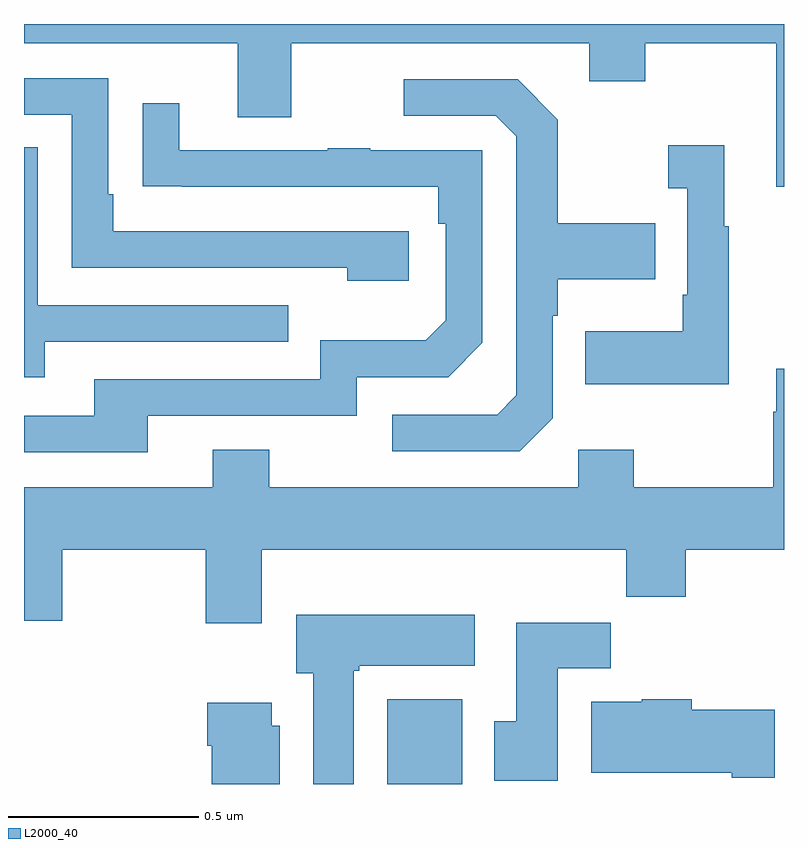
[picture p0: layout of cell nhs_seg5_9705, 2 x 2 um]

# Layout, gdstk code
import gdstk
lib = gdstk.Library(unit=1e-6, precision=1e-09)
def R(c, l, rs):  # rectangles x0, y0, x1, y1
    for r in rs: c.add(gdstk.rectangle(r[:2], r[2:], *l))
def P(c, l, *ps):  # polygons
    for p in ps: c.add(gdstk.Polygon(p, *l))
L2000_40 = (2000, 40)

nhs_seg5_9705 = lib.new_cell('nhs_seg5_9705')
R(nhs_seg5_9705, L2000_40, [(237.956,866.799,238.153,867.022)])
P(nhs_seg5_9705, L2000_40, [(239,868.799),(237,868.799),(237,868.748),(237.563,868.748),(237.563,868.554),(237.703,868.554),(237.703,868.748),(238.487,868.748),(238.487,868.649),(238.635,868.649),(238.635,868.748),(238.979,868.748),(238.979,868.371),(239,868.371)],
  [(238.012,868.254),(237.235,868.254),(237.235,868.351),(237.222,868.351),(237.222,868.656),(237,868.656),(237,868.56),(237.126,868.56),(237.126,868.158),(237.851,868.158),(237.851,868.124),(238.012,868.124)],
  [(238.392,867.762),(238.392,868.031),(238.405,868.031),(238.405,868.127),(238.661,868.127),(238.661,868.275),(238.405,868.275),(238.405,868.547),(238.299,868.653),(237.999,868.653),(237.999,868.557),(238.242,868.557),(238.296,868.503),(238.296,867.822),(238.245,867.771),(237.969,867.771),(237.969,867.675),(238.305,867.675)],
  [(237.325,867.768),(237.876,867.768),(237.876,867.87),(238.116,867.87),(238.206,867.96),(238.206,868.467),(237.911,868.467),(237.911,868.472),(237.799,868.472),(237.799,868.467),(237.409,868.467),(237.409,868.591),(237.313,868.591),(237.313,868.372),(237.415,868.372),(237.415,868.371),(238.09,868.371),(238.09,868.274),(238.11,868.274),(238.11,868.02),(238.057,867.967),(237.78,867.967),(237.78,867.864),(237.185,867.864),(237.185,867.768),(237,867.768),(237,867.672),(237.325,867.672)],
  [(238.855,868.267),(238.843,868.267),(238.843,868.48),(238.695,868.48),(238.695,868.367),(238.746,868.367),(238.746,868.087),(238.734,868.087),(238.734,867.991),(238.477,867.991),(238.477,867.851),(238.855,867.851)],
  [(237.055,867.963),(237.695,867.963),(237.695,868.059),(237.036,868.059),(237.036,868.475),(237,868.475),(237,867.869),(237.055,867.869)],
  [(237.625,867.416),(238.585,867.416),(238.585,867.292),(238.742,867.292),(238.742,867.416),(239,867.416),(239,867.892),(238.979,867.892),(238.979,867.779),(238.972,867.779),(238.972,867.58),(238.605,867.58),(238.605,867.679),(238.458,867.679),(238.458,867.58),(237.645,867.58),(237.645,867.679),(237.497,867.679),(237.497,867.58),(237,867.58),(237,867.228),(237.1,867.228),(237.1,867.416),(237.478,867.416),(237.478,867.222),(237.625,867.222)],
  [(237.868,867.097),(237.882,867.097),(237.882,867.11),(238.186,867.11),(238.186,867.244),(237.716,867.244),(237.716,867.09),(237.761,867.09),(237.761,866.799),(237.868,866.799)],
  [(238.405,867.104),(238.544,867.104),(238.544,867.223),(238.295,867.223),(238.295,866.964),(238.238,866.964),(238.238,866.808),(238.405,866.808)],
  [(238.975,866.994),(238.757,866.994),(238.757,867.022),(238.626,867.022),(238.626,867.016),(238.493,867.016),(238.493,866.828),(238.862,866.828),(238.862,866.816),(238.975,866.816)],
  [(237.673,866.952),(237.652,866.952),(237.652,867.013),(237.482,867.013),(237.482,866.9),(237.494,866.9),(237.494,866.799),(237.673,866.799)])

lib.write_gds('nhs_seg5_9705.gds')
